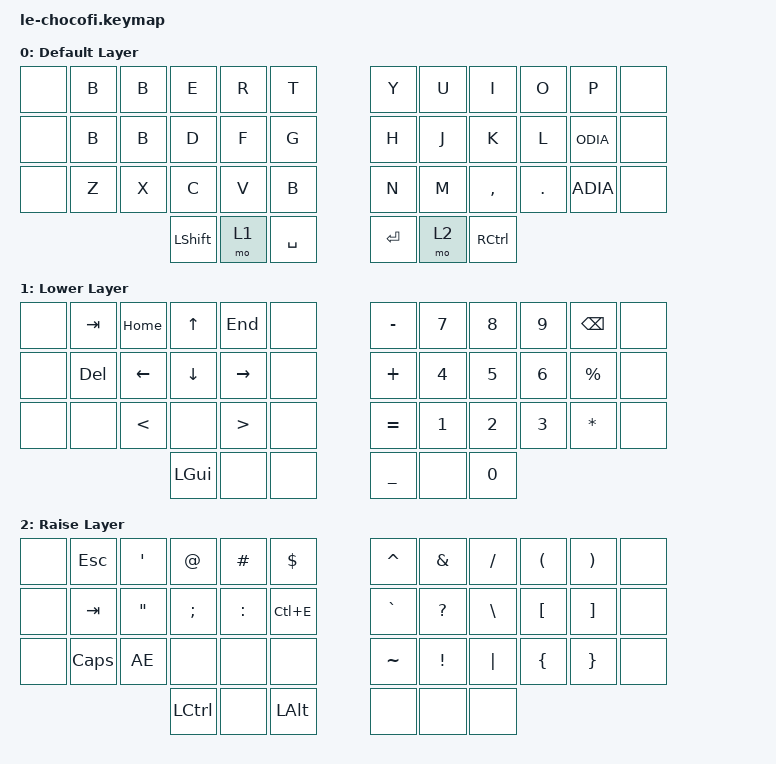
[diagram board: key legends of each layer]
/*
 * Copyright (c) 2020 The ZMK Contributors
 *
 * SPDX-License-Identifier: MIT
 */

#include <behaviors.dtsi>
#include <dt-bindings/zmk/keys.h>
#include <dt-bindings/zmk/bt.h>

/ {
        keymap {
                compatible = "zmk,keymap";

                default_layer {
                        display-name = "Default Layer";
// -----------------------------------------------------------------------------------------
// |  Q  |  W  |  E  |  R  |  T  |                |  Y  |  U   |  I  |  O  |  P  |
// |  A  |  S  |  D  |  F  |  G  |                |  H  |  J   |  K  |  L  |  Ö  |
// |  Z  |  X  |  C  |  V  |  B  |                |  N  |  M   |  ,  |  .  |  Ä  |
//                   |SHFT | LWR | SPC |    | ENT | RSE | CTRL |
// -----------------------------------------------------------------------------------------
                        bindings = <
   &none &kp B &kp B &kp E &kp R &kp T                 &kp Y &kp U &kp I     &kp O   &kp P    &none 
   &none &kp B &kp B &kp D &kp F &kp G                 &kp H &kp J &kp K     &kp L   &kp ODIA &none 
   &none &kp Z &kp X &kp C &kp V &kp B                 &kp N &kp M &kp COMMA &kp DOT &kp ADIA &none 
               &kp LSHFT  &mo 1 &kp SPACE          &kp RET &mo 2 &kp RCTRL
                        >;
                };
                lower_layer {
                        display-name = "Lower Layer";
// -----------------------------------------------------------------------------------------
// | INS | HME |  UP  | END |  x  |                 |  -  |  7  |  8  |  9  | BSPC |
// | DEL | LFT |  DWN | RGT |  x  |                 |  +  |  4  |  5  |  6  |  %   |
// |  x  |  <  |   x  |  >  |  x  |                 |  =  |  1  |  2  |  3  |  *   |
//                    | GUI |  x  |  x  |     |  _  |  x  |  0   |
// -----------------------------------------------------------------------------------------
                        bindings = <
   &none  &kp TAB &kp HOME &kp UP   &kp END   &none       &kp MINUS &kp N7 &kp N8 &kp N9 &kp BSPC  &none 
   &none  &kp DEL &kp LEFT &kp DOWN &kp RIGHT &none       &kp PLUS  &kp N4 &kp N5 &kp N6 &kp PRCNT &none 
   &none  &none   &kp LT   &none    &kp GT    &none       &kp EQUAL &kp N1 &kp N2 &kp N3 &kp ASTRK &none 
                  &kp LGUI &none    &none                 &kp UNDER &none &kp N0
                        >;
                };

                raise_layer {
                        display-name = "Raise Layer";
// -----------------------------------------------------------------------------------------
// |  ESC |  '  |  @  |  #   |  $  |               |  ^  |  &  |  /  |  (  |  )  |
// |  TAB |  "  |  ;  |  :   |  €  |               |  `  |  ?  |  \  |  [  |  ]  |
// | CAPS |  Å  |  x  |  ½   |  §  |               |  ~  |  !  | "|" |  {  |  }  |
//                    | CTRL |  x  | ALT |   |  x  |  x  |  x  |
// -----------------------------------------------------------------------------------------
                        bindings = <
   &none &kp ESC  &kp SQT &kp AT   &kp HASH  &kp DLLR                &kp CARET &kp AMPS  &kp SLASH &kp LPAR &kp RPAR &none
   &none &kp TAB  &kp DQT &kp SEMI &kp COLON &kp LC(E)               &kp GRAVE &kp QMARK &kp BSLH  &kp LBKT &kp RBKT &none
   &none &kp CAPS &kp AE  &none    &none     &none                   &kp TILDE &kp EXCL  &kp PIPE  &kp LBRC &kp RBRC &none
                                    &kp LCTRL &none &kp LALT       &none      &none     &none
                        >;
                };
        };
};
